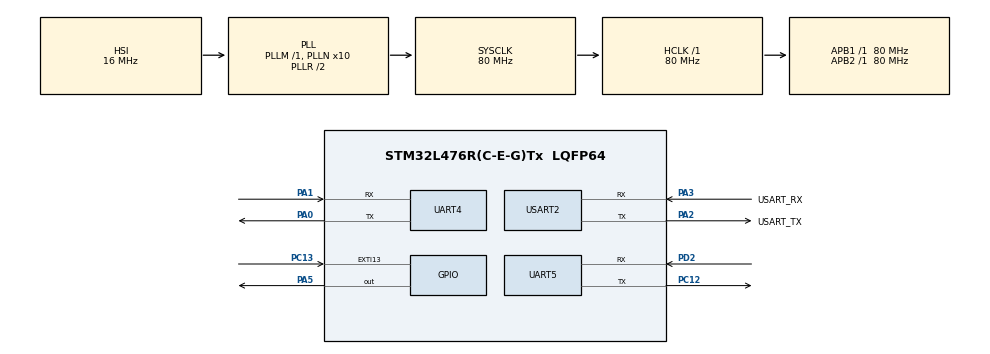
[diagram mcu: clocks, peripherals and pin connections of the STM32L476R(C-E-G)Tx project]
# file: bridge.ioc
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Dma.Request0=UART4_RX
Dma.Request1=UART5_RX
Dma.UART4_RX.0.Direction=DMA_PERIPH_TO_MEMORY
Dma.UART4_RX.0.Instance=DMA2_Channel5
Dma.UART4_RX.0.MemDataAlignment=DMA_MDATAALIGN_BYTE
Dma.UART4_RX.0.MemInc=DMA_MINC_ENABLE
Dma.UART4_RX.0.Mode=DMA_NORMAL
Dma.UART4_RX.0.PeriphDataAlignment=DMA_PDATAALIGN_BYTE
Dma.UART4_RX.0.PeriphInc=DMA_PINC_DISABLE
Dma.UART4_RX.0.Priority=DMA_PRIORITY_LOW
Dma.UART5_RX.1.Direction=DMA_PERIPH_TO_MEMORY
Dma.UART5_RX.1.Instance=DMA2_Channel2
Dma.UART5_RX.1.MemDataAlignment=DMA_MDATAALIGN_BYTE
Dma.UART5_RX.1.MemInc=DMA_MINC_ENABLE
Dma.UART5_RX.1.Mode=DMA_NORMAL
Dma.UART5_RX.1.PeriphDataAlignment=DMA_PDATAALIGN_BYTE
Dma.UART5_RX.1.PeriphInc=DMA_PINC_DISABLE
Dma.UART5_RX.1.Priority=DMA_PRIORITY_LOW
Mcu.Family=STM32L4
Mcu.Name=STM32L476R(C-E-G)Tx
Mcu.Package=LQFP64
NUCLEO-L476RG.BUTTON=1
NUCLEO-L476RG.LD2=true
NVIC.DMA2_Channel2_IRQn=true\:0\:0\:false\:false\:true\:false\:true\:true
NVIC.DMA2_Channel5_IRQn=true\:0\:0\:false\:false\:true\:false\:true\:true
NVIC.EXTI15_10_IRQn=true\:0\:0\:false\:false\:true\:false\:true\:true
NVIC.PriorityGroup=NVIC_PRIORITYGROUP_4
NVIC.UART4_IRQn=true\:0\:0\:false\:false\:true\:false\:true\:true
NVIC.UART5_IRQn=true\:0\:0\:false\:false\:true\:false\:true\:true
PA0.Mode=Asynchronous
PA0.Signal=UART4_TX
PA1.Mode=Asynchronous
PA1.Signal=UART4_RX
PA13\ (JTMS-SWDIO).GPIO_Label=TMS
PA13\ (JTMS-SWDIO).Signal=SYS_JTMS-SWDIO
PA14\ (JTCK-SWCLK).GPIO_Label=TCK
PA14\ (JTCK-SWCLK).Signal=SYS_JTCK-SWCLK
PA2.GPIO_Label=USART_TX
PA2.GPIO_Mode=GPIO_MODE_AF_PP
PA2.GPIO_PuPd=GPIO_NOPULL
PA2.GPIO_Speed=GPIO_SPEED_FREQ_VERY_HIGH
PA2.Mode=Asynchronous
PA2.Signal=USART2_TX
PA3.GPIO_Label=USART_RX
PA3.GPIO_Mode=GPIO_MODE_AF_PP
PA3.GPIO_PuPd=GPIO_NOPULL
PA3.GPIO_Speed=GPIO_SPEED_FREQ_VERY_HIGH
PA3.Mode=Asynchronous
PA3.Signal=USART2_RX
PA5.Signal=GPIO_Output
PB3\ (JTDO-TRACESWO).GPIO_Label=SWO
PB3\ (JTDO-TRACESWO).Signal=SYS_JTDO-SWO
PC12.Mode=Asynchronous
PC12.Signal=UART5_TX
PC13.Signal=GPXTI13
PC14-OSC32_IN\ (PC14).Signal=RCC_OSC32_IN
PC15-OSC32_OUT\ (PC15).Signal=RCC_OSC32_OUT
PD2.Mode=Asynchronous
PD2.Signal=UART5_RX
PH0-OSC_IN\ (PH0).Signal=RCC_OSC_IN
PH1-OSC_OUT\ (PH1).Signal=RCC_OSC_OUT
ProjectManager.HeapSize=0x200
ProjectManager.StackSize=0x400
ProjectManager.TargetToolchain=CMake
RCC.ADCFreq_Value=64000000
RCC.AHBFreq_Value=80000000
RCC.APB1Freq_Value=80000000
RCC.APB1TimFreq_Value=80000000
RCC.APB2Freq_Value=80000000
RCC.APB2TimFreq_Value=80000000
RCC.CortexFreq_Value=80000000
RCC.HCLKFreq_Value=80000000
RCC.HSE_VALUE=8000000
RCC.HSI_VALUE=16000000
RCC.LSE_VALUE=32768
RCC.MSI_VALUE=4000000
RCC.PLLN=10
RCC.PLLSourceVirtual=RCC_PLLSOURCE_HSI
RCC.PREFETCH_ENABLE=1
RCC.SYSCLKFreq_VALUE=80000000
RCC.SYSCLKSource=RCC_SYSCLKSOURCE_PLLCLK
RCC.USBFreq_Value=64000000
RCC.VCOOutputFreq_Value=160000000
USART2.VirtualMode-Asynchronous=VM_ASYNC
VP_NUCLEO-L476RG_VS_BSP_COMMON.Mode=COMMON
board=NUCLEO-L476RG

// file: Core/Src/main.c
/* USER CODE BEGIN Header */
/**
 ******************************************************************************
 * @file           : main.c
 * @brief          : Main program body
 ******************************************************************************
 * @attention
 *
 * Copyright (c) 2026 STMicroelectronics.
 * All rights reserved.
 *
 * This software is licensed under terms that can be found in the LICENSE file
 * in the root directory of this software component.
 * If no LICENSE file comes with this software, it is provided AS-IS.
 *
 ******************************************************************************
 */
/* USER CODE END Header */
#include "main.h"

/* USER CODE BEGIN Includes */
#include <stdint.h>
/* USER CODE END Includes */

UART_HandleTypeDef huart4;
UART_HandleTypeDef huart5;
UART_HandleTypeDef huart2;
DMA_HandleTypeDef hdma_uart4_rx;
DMA_HandleTypeDef hdma_uart5_rx;

/* USER CODE BEGIN PV */

static uint8_t bridge_uart4_rx_buffer[512];
static uint8_t bridge_uart5_rx_buffer[512];

static const char BRIDGE_TAG_UART4[] = "[ANCHOR-BP] ";
static const char BRIDGE_TAG_UART5[] = "[BEACON] ";

/* USER CODE END PV */

void SystemClock_Config(void);
static void MX_GPIO_Init(void);
static void MX_DMA_Init(void);
static void MX_USART2_UART_Init(void);
static void MX_UART4_Init(void);
static void MX_UART5_Init(void);

int main(void)
{

  /* MCU Configuration--------------------------------------------------------*/

  /* Reset of all peripherals, Initializes the Flash interface and the Systick. */
  HAL_Init();

  /* Configure the system clock */
  SystemClock_Config();

  /* Initialize all configured peripherals */
  MX_GPIO_Init();
  MX_DMA_Init();
  MX_USART2_UART_Init();
  MX_UART4_Init();
  MX_UART5_Init();
  /* USER CODE BEGIN 2 */

  HAL_UARTEx_ReceiveToIdle_DMA(&huart4, bridge_uart4_rx_buffer, sizeof(bridge_uart4_rx_buffer));
  HAL_UARTEx_ReceiveToIdle_DMA(&huart5, bridge_uart5_rx_buffer, sizeof(bridge_uart5_rx_buffer));
  /* USER CODE END 2 */

  /* Initialize leds */
  BSP_LED_Init(LED_GREEN);

  /* Initialize USER push-button, will be used to trigger an interrupt each time it's pressed.*/
  BSP_PB_Init(BUTTON_USER, BUTTON_MODE_EXTI);

  /* Infinite loop */
  /* USER CODE BEGIN WHILE */
  BSP_LED_On(LED_GREEN);
  while (1) {
    /* USER CODE END WHILE */

  }
}

void SystemClock_Config(void)
{
  RCC_OscInitTypeDef RCC_OscInitStruct = {0};
  RCC_ClkInitTypeDef RCC_ClkInitStruct = {0};

  /** Configure the main internal regulator output voltage
  */
  if (HAL_PWREx_ControlVoltageScaling(PWR_REGULATOR_VOLTAGE_SCALE1) != HAL_OK)
  {
    Error_Handler();
  }

  /** Initializes the RCC Oscillators according to the specified parameters
  * in the RCC_OscInitTypeDef structure.
  */
  RCC_OscInitStruct.OscillatorType = RCC_OSCILLATORTYPE_HSI;
  RCC_OscInitStruct.HSIState = RCC_HSI_ON;
  RCC_OscInitStruct.HSICalibrationValue = RCC_HSICALIBRATION_DEFAULT;
  RCC_OscInitStruct.PLL.PLLState = RCC_PLL_ON;
  RCC_OscInitStruct.PLL.PLLSource = RCC_PLLSOURCE_HSI;
  RCC_OscInitStruct.PLL.PLLM = 1;
  RCC_OscInitStruct.PLL.PLLN = 10;
  RCC_OscInitStruct.PLL.PLLP = RCC_PLLP_DIV7;
  RCC_OscInitStruct.PLL.PLLQ = RCC_PLLQ_DIV2;
  RCC_OscInitStruct.PLL.PLLR = RCC_PLLR_DIV2;
  if (HAL_RCC_OscConfig(&RCC_OscInitStruct) != HAL_OK)
  {
    Error_Handler();
  }

  /** Initializes the CPU, AHB and APB buses clocks
  */
  RCC_ClkInitStruct.ClockType = RCC_CLOCKTYPE_HCLK|RCC_CLOCKTYPE_SYSCLK
                              |RCC_CLOCKTYPE_PCLK1|RCC_CLOCKTYPE_PCLK2;
  RCC_ClkInitStruct.SYSCLKSource = RCC_SYSCLKSOURCE_PLLCLK;
  RCC_ClkInitStruct.AHBCLKDivider = RCC_SYSCLK_DIV1;
  RCC_ClkInitStruct.APB1CLKDivider = RCC_HCLK_DIV1;
  RCC_ClkInitStruct.APB2CLKDivider = RCC_HCLK_DIV1;

  if (HAL_RCC_ClockConfig(&RCC_ClkInitStruct, FLASH_LATENCY_4) != HAL_OK)
  {
    Error_Handler();
  }
}

static void MX_UART4_Init(void)
{

  huart4.Instance = UART4;
  huart4.Init.BaudRate = 115200;
  huart4.Init.WordLength = UART_WORDLENGTH_8B;
  huart4.Init.StopBits = UART_STOPBITS_1;
  huart4.Init.Parity = UART_PARITY_NONE;
  huart4.Init.Mode = UART_MODE_TX_RX;
  huart4.Init.HwFlowCtl = UART_HWCONTROL_NONE;
  huart4.Init.OverSampling = UART_OVERSAMPLING_16;
  huart4.Init.OneBitSampling = UART_ONE_BIT_SAMPLE_DISABLE;
  huart4.AdvancedInit.AdvFeatureInit = UART_ADVFEATURE_NO_INIT;
  if (HAL_UART_Init(&huart4) != HAL_OK)
  {
    Error_Handler();
  }

}

static void MX_UART5_Init(void)
{

  huart5.Instance = UART5;
  huart5.Init.BaudRate = 115200;
  huart5.Init.WordLength = UART_WORDLENGTH_8B;
  huart5.Init.StopBits = UART_STOPBITS_1;
  huart5.Init.Parity = UART_PARITY_NONE;
  huart5.Init.Mode = UART_MODE_TX_RX;
  huart5.Init.HwFlowCtl = UART_HWCONTROL_NONE;
  huart5.Init.OverSampling = UART_OVERSAMPLING_16;
  huart5.Init.OneBitSampling = UART_ONE_BIT_SAMPLE_DISABLE;
  huart5.AdvancedInit.AdvFeatureInit = UART_ADVFEATURE_NO_INIT;
  if (HAL_UART_Init(&huart5) != HAL_OK)
  {
    Error_Handler();
  }

}

static void MX_USART2_UART_Init(void)
{

  huart2.Instance = USART2;
  huart2.Init.BaudRate = 115200;
  huart2.Init.WordLength = UART_WORDLENGTH_8B;
  huart2.Init.StopBits = UART_STOPBITS_1;
  huart2.Init.Parity = UART_PARITY_NONE;
  huart2.Init.Mode = UART_MODE_TX_RX;
  huart2.Init.HwFlowCtl = UART_HWCONTROL_NONE;
  huart2.Init.OverSampling = UART_OVERSAMPLING_16;
  huart2.Init.OneBitSampling = UART_ONE_BIT_SAMPLE_DISABLE;
  huart2.AdvancedInit.AdvFeatureInit = UART_ADVFEATURE_NO_INIT;
  if (HAL_UART_Init(&huart2) != HAL_OK)
  {
    Error_Handler();
  }

}

static void MX_DMA_Init(void)
{

  /* DMA controller clock enable */
  __HAL_RCC_DMA2_CLK_ENABLE();

  /* DMA interrupt init */
  /* DMA2_Channel2_IRQn interrupt configuration */
  HAL_NVIC_SetPriority(DMA2_Channel2_IRQn, 0, 0);
  HAL_NVIC_EnableIRQ(DMA2_Channel2_IRQn);
  /* DMA2_Channel5_IRQn interrupt configuration */
  HAL_NVIC_SetPriority(DMA2_Channel5_IRQn, 0, 0);
  HAL_NVIC_EnableIRQ(DMA2_Channel5_IRQn);

}

static void MX_GPIO_Init(void)
{

  /* GPIO Ports Clock Enable */
  __HAL_RCC_GPIOC_CLK_ENABLE();
  __HAL_RCC_GPIOH_CLK_ENABLE();
  __HAL_RCC_GPIOA_CLK_ENABLE();
  __HAL_RCC_GPIOD_CLK_ENABLE();
  __HAL_RCC_GPIOB_CLK_ENABLE();

}

/* USER CODE BEGIN 4 */

void HAL_UARTEx_RxEventCallback(UART_HandleTypeDef* huart, uint16_t Size)
{
  if (huart == &huart4) {
    HAL_UART_Transmit(&huart2, (const uint8_t*)BRIDGE_TAG_UART4, sizeof(BRIDGE_TAG_UART4) - 1, HAL_MAX_DELAY);
    HAL_UART_Transmit(&huart2, bridge_uart4_rx_buffer, Size, HAL_MAX_DELAY);
    __HAL_UART_CLEAR_IDLEFLAG(&huart4);
    HAL_UARTEx_ReceiveToIdle_DMA(&huart4, bridge_uart4_rx_buffer, sizeof(bridge_uart4_rx_buffer));
  } else if (huart == &huart5) {
    HAL_UART_Transmit(&huart2, (const uint8_t*)BRIDGE_TAG_UART5, sizeof(BRIDGE_TAG_UART5) - 1, HAL_MAX_DELAY);
    HAL_UART_Transmit(&huart2, bridge_uart5_rx_buffer, Size, HAL_MAX_DELAY);
    __HAL_UART_CLEAR_IDLEFLAG(&huart5);
    HAL_UARTEx_ReceiveToIdle_DMA(&huart5, bridge_uart5_rx_buffer, sizeof(bridge_uart5_rx_buffer));
  }
}

void HAL_UART_ErrorCallback(UART_HandleTypeDef* huart)
{
  if (huart == &huart4) {
    __HAL_UART_CLEAR_IDLEFLAG(&huart4);
    HAL_UARTEx_ReceiveToIdle_DMA(&huart4, bridge_uart4_rx_buffer, sizeof(bridge_uart4_rx_buffer));
  } else if (huart == &huart5) {
    __HAL_UART_CLEAR_IDLEFLAG(&huart5);
    HAL_UARTEx_ReceiveToIdle_DMA(&huart5, bridge_uart5_rx_buffer, sizeof(bridge_uart5_rx_buffer));
  }
}

/* USER CODE END 4 */

void Error_Handler(void)
{
  __disable_irq();
  while (1) {
  }
}
